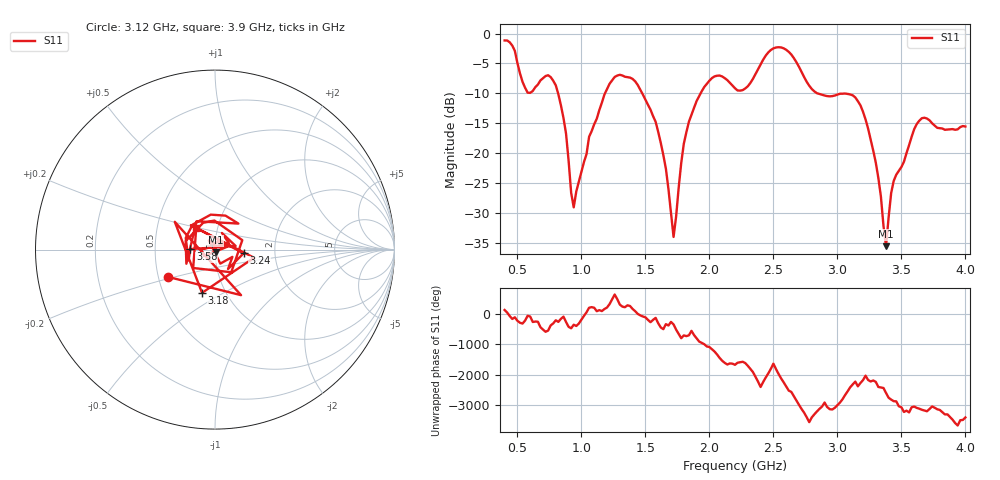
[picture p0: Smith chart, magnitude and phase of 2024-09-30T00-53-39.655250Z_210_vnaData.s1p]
!Created with skrf (http://scikit-rf.org).
# Hz S RI R 50.0
!freq ReS11 ImS11
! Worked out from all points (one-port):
!   181 points, 400 MHz to 4 GHz, reference 50 ohm
!   lowest |S11| = -35.5 dB at 3.38 GHz (marker M1), VSWR 1.03, Z = 50.5 - j1.62 ohm
!   |S11| at or under -10 dB: 818.1 MHz to 1.184 GHz (365.9 MHz wide, 36.6 % of centre); 1.475 GHz to 1.931 GHz (455.6 MHz wide, 26.8 % of centre); 2.845 GHz to end of sweep
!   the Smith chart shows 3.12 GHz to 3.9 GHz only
!   S11 on the Smith chart (normalised r, x): 3.12 GHz: 0.56, -0.19; 3.18 GHz: 0.78, -0.40; 3.24 GHz: 1.38, -0.06; 3.58 GHz: 0.76, +0.00; 3.9 GHz: 0.79, +0.19
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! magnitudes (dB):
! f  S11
! 400 MHz  -1.2
! 580 MHz  -9.9
! 760 MHz  -7.3
! 860 MHz  -14.1
! 940 MHz  -29.0
! 1.06 GHz  -17.2
! 1.3 GHz  -6.9
! 1.58 GHz  -14.7
! 1.66 GHz  -22.6
! 1.72 GHz  -34.0
! 1.76 GHz  -25.8
! 1.82 GHz  -16.5
! 1.94 GHz  -9.6
! 2.2 GHz  -9.1
! 2.5 GHz  -2.5
! 2.66 GHz  -4.1
! 2.84 GHz  -10.0
! 3.1 GHz  -10.2
! 3.12 GHz  -10.3
! 3.18 GHz  -12.0
! 3.24 GHz  -15.9
! 3.32 GHz  -24.1
! 3.38 GHz  -35.5
! 3.44 GHz  -24.6
! 3.56 GHz  -18.6
! 3.58 GHz  -17.2
! 3.9 GHz  -16.0
! 4 GHz  -15.5
